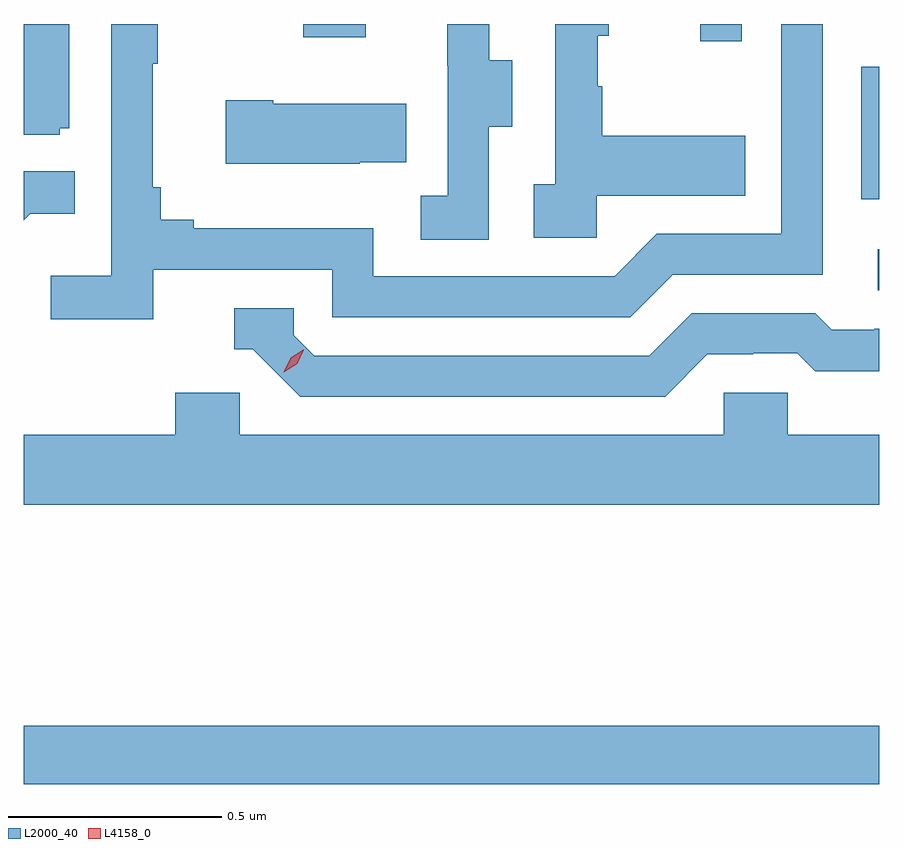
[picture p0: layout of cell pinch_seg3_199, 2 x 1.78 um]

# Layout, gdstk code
import gdstk
lib = gdstk.Library(unit=1e-6, precision=1e-09)
def R(c, l, rs):  # rectangles x0, y0, x1, y1
    for r in rs: c.add(gdstk.rectangle(r[:2], r[2:], *l))
def P(c, l, *ps):  # polygons
    for p in ps: c.add(gdstk.Polygon(p, *l))
L2000_40 = (2000, 40)
L4158_0 = (4158, 0)

pinch_seg3_199 = lib.new_cell('pinch_seg3_199')
R(pinch_seg3_199, L2000_40, [(974.807,732.232,976.807,732.368), (976.803,733.386,976.807,733.482), (976.764,733.599,976.807,733.908), (976.388,733.968,976.485,734.008), (975.46,733.977,975.607,734.008)])
P(pinch_seg3_199, L2000_40, [(975.894,733.768),(975.949,733.768),(975.949,733.923),(975.895,733.923),(975.895,734.008),(975.797,734.008),(975.797,733.911),(975.798,733.911),(975.798,733.607),(975.735,733.607),(975.735,733.504),(975.894,733.504)],
  [(974.892,733.764),(974.914,733.764),(974.914,734.008),(974.807,734.008),(974.807,733.749),(974.892,733.749)],
  [(976.146,733.607),(976.493,733.607),(976.493,733.747),(976.159,733.747),(976.159,733.862),(976.149,733.862),(976.149,733.98),(976.174,733.98),(976.174,734.008),(976.05,734.008),(976.05,733.634),(975.999,733.634),(975.999,733.509),(976.146,733.509)],
  [(975.11,733.434),(975.528,733.434),(975.528,733.323),(976.225,733.323),(976.324,733.422),(976.674,733.422),(976.674,734.008),(976.578,734.008),(976.578,733.518),(976.287,733.518),(976.188,733.419),(975.624,733.419),(975.624,733.531),(975.205,733.531),(975.205,733.55),(975.128,733.55),(975.128,733.627),(975.109,733.627),(975.109,733.915),(975.121,733.915),(975.121,734.008),(975.012,734.008),(975.012,733.42),(974.871,733.42),(974.871,733.318),(975.11,733.318)],
  [(975.593,733.685),(975.701,733.685),(975.701,733.822),(975.391,733.822),(975.391,733.83),(975.279,733.83),(975.279,733.682),(975.593,733.682)],
  [(974.823,733.565),(974.927,733.565),(974.927,733.664),(974.807,733.664),(974.807,733.549)],
  [(976.405,733.236),(976.512,733.236),(976.512,733.239),(976.615,733.239),(976.657,733.197),(976.807,733.197),(976.807,733.296),(976.795,733.296),(976.795,733.293),(976.696,733.293),(976.657,733.332),(976.368,733.332),(976.269,733.233),(975.486,733.233),(975.438,733.281),(975.438,733.344),(975.299,733.344),(975.299,733.248),(975.342,733.248),(975.453,733.137),(976.306,733.137)],
  [(976.807,733.048),(976.593,733.048),(976.593,733.146),(976.443,733.146),(976.443,733.048),(975.312,733.048),(975.312,733.146),(975.161,733.146),(975.161,733.048),(974.807,733.048),(974.807,732.884),(976.807,732.884)])
P(pinch_seg3_199, L4158_0, [(975.415,733.194),(975.415,733.195),(975.431,733.228),(975.461,733.247),(975.462,733.247),(975.462,733.247),(975.446,733.214),(975.415,733.194)])

lib.write_gds('pinch_seg3_199.gds')
